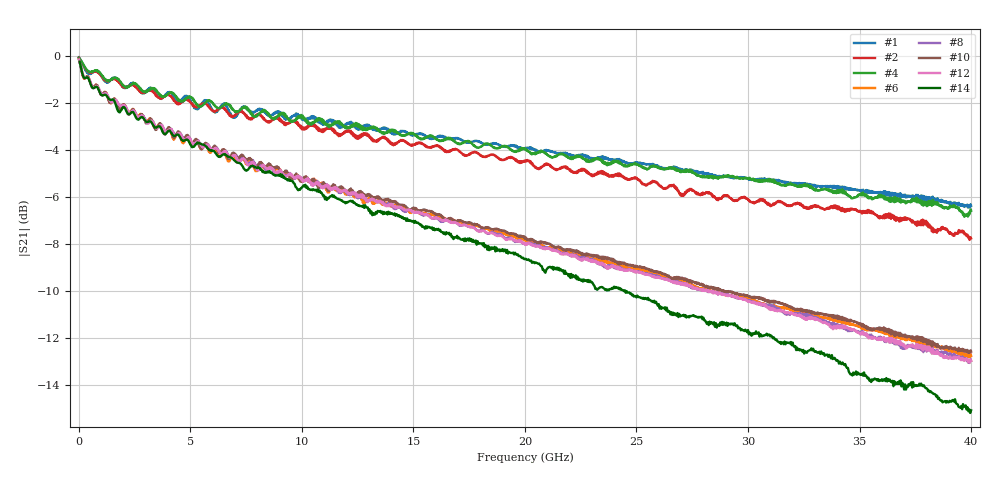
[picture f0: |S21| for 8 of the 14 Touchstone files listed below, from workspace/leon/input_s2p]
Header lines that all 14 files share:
! CHANNEL.1
! TR.MEASUREMENT
! CORRECTED.DATA
# GHZ S RI R 50.0
! FREQ.GHZ  S11RE  S11IM  S21RE  S21IM  S12RE  S12IM  S22RE  S22IM
!; PortSelection: Port_12
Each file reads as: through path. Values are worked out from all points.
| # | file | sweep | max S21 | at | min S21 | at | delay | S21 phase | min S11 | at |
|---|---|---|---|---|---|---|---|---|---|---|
| 1 | 1-L7-4.s2p | 10 MHz to 40 GHz | -0.06 dB | 10 MHz | -6.4 dB | 39.86 GHz | 682 ps | 121 deg at 20.01 GHz | -58.7 dB | 8.95 GHz |
| 2 | 1-L18-4.s2p | 10 MHz to 40 GHz | -0.08 dB | 10 MHz | -7.8 dB | 39.93 GHz | 680 ps | 130 deg at 20.01 GHz | -49.5 dB | 2.42 GHz |
| 3 | 1-L18-8.s2p | 10 MHz to 40 GHz | -0.17 dB | 10 MHz | -14.0 dB | 39.94 GHz | 1.29 ns | 46 deg at 20.01 GHz | -33.6 dB | 10 MHz |
| 4 | 1-L20-4.s2p | 10 MHz to 40 GHz | -0.08 dB | 10 MHz | -6.8 dB | 39.7 GHz | 673 ps | -177 deg at 20.01 GHz | -50.4 dB | 2.51 GHz |
| 5 | 2-L5-4.s2p | 10 MHz to 40 GHz | -0.08 dB | 10 MHz | -7.4 dB | 39.93 GHz | 678 ps | 148 deg at 20.01 GHz | -47.8 dB | 1.61 GHz |
| 6 | 2-L7-8.s2p | 10 MHz to 40 GHz | -0.14 dB | 10 MHz | -12.8 dB | 39.93 GHz | 1.29 ns | 33 deg at 20.01 GHz | -54.5 dB | 9.34 GHz |
| 7 | 2-L18-8.s2p | 10 MHz to 40 GHz | -0.15 dB | 10 MHz | -13.9 dB | 39.94 GHz | 1.29 ns | 60 deg at 20.01 GHz | -37.8 dB | 2.04 GHz |
| 8 | 2-L20-8.s2p | 10 MHz to 40 GHz | -0.16 dB | 10 MHz | -13.0 dB | 39.93 GHz | 1.28 ns | 89 deg at 20.01 GHz | -37.8 dB | 1.64 GHz |
| 9 | 3-L5-8.s2p | 10 MHz to 40 GHz | -0.14 dB | 10 MHz | -13.8 dB | 39.94 GHz | 1.29 ns | 52 deg at 20.01 GHz | -45.1 dB | 1.19 GHz |
| 10 | 3-L7-8.s2p | 10 MHz to 40 GHz | -0.14 dB | 10 MHz | -12.6 dB | 39.93 GHz | 1.29 ns | 30 deg at 20.01 GHz | -40.3 dB | 2.82 GHz |
| 11 | 3-L18-8.s2p | 10 MHz to 40 GHz | -0.14 dB | 10 MHz | -13.9 dB | 39.93 GHz | 1.29 ns | 44 deg at 20.01 GHz | -33.6 dB | 10 MHz |
| 12 | 3-L20-8.s2p | 10 MHz to 40 GHz | -0.17 dB | 10 MHz | -13.0 dB | 39.93 GHz | 1.28 ns | 102 deg at 20.01 GHz | -43.0 dB | 1.66 GHz |
| 13 | 5-L12-5.s2p | 40 MHz to 40 GHz | -0.12 dB | 40 MHz | -8.0 dB | 39.6 GHz | 681 ps | 119 deg at 20.04 GHz | -36.4 dB | 8.72 GHz |
| 14 | 9-L7-8.s2p | 40 MHz to 40 GHz | -0.25 dB | 40 MHz | -15.2 dB | 39.96 GHz | 1.29 ns | 42 deg at 20.04 GHz | -43.7 dB | 400 MHz |
